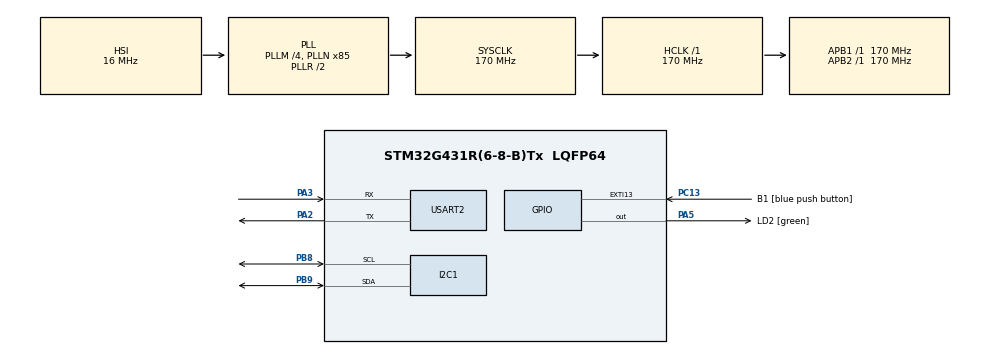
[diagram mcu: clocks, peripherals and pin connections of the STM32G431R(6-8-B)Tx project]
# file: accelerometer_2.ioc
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I2C1.Timing=0x30A0A7FB
Mcu.Family=STM32G4
Mcu.Name=STM32G431R(6-8-B)Tx
Mcu.Package=LQFP64
NVIC.PriorityGroup=NVIC_PRIORITYGROUP_4
PA13.GPIO_Label=T_SWDIO
PA13.Mode=Serial_Wire
PA13.Signal=SYS_JTMS-SWDIO
PA14.GPIO_Label=T_SWCLK
PA14.Mode=Serial_Wire
PA14.Signal=SYS_JTCK-SWCLK
PA2.Mode=Asynchronous
PA2.Signal=USART2_TX
PA3.Mode=Asynchronous
PA3.Signal=USART2_RX
PA5.GPIO_Label=LD2 [green]
PA5.Signal=GPIO_Output
PB3.GPIO_Label=T_SWO
PB3.Signal=SYS_JTDO-SWO
PB8-BOOT0.Mode=I2C
PB8-BOOT0.Signal=I2C1_SCL
PB9.Mode=I2C
PB9.Signal=I2C1_SDA
PC13.GPIO_Label=B1 [blue push button]
PC13.Signal=GPXTI13
PC14-OSC32_IN.Mode=LSE-External-Oscillator
PC14-OSC32_IN.Signal=RCC_OSC32_IN
PC15-OSC32_OUT.Mode=LSE-External-Oscillator
PC15-OSC32_OUT.Signal=RCC_OSC32_OUT
PF0-OSC_IN.Mode=HSE-External-Oscillator
PF0-OSC_IN.Signal=RCC_OSC_IN
PF1-OSC_OUT.Mode=HSE-External-Oscillator
PF1-OSC_OUT.Signal=RCC_OSC_OUT
ProjectManager.HeapSize=0x200
ProjectManager.StackSize=0x400
ProjectManager.TargetToolchain=STM32CubeIDE
RCC.ADC12Freq_Value=170000000
RCC.AHBFreq_Value=170000000
RCC.APB1Freq_Value=170000000
RCC.APB1TimFreq_Value=170000000
RCC.APB2Freq_Value=170000000
RCC.APB2TimFreq_Value=170000000
RCC.CortexFreq_Value=170000000
RCC.EXTERNAL_CLOCK_VALUE=12288000
RCC.HCLKFreq_Value=170000000
RCC.HSE_VALUE=24000000
RCC.HSI48_VALUE=48000000
RCC.HSI_VALUE=16000000
RCC.PLLM=RCC_PLLM_DIV4
RCC.PLLN=85
RCC.RTCClockSelection=RCC_RTCCLKSOURCE_LSE
RCC.SYSCLKFreq_VALUE=170000000
RCC.SYSCLKSource=RCC_SYSCLKSOURCE_PLLCLK
RCC.USBFreq_Value=170000000
RCC.VCOOutputFreq_Value=340000000
USART2.VirtualMode-Asynchronous=VM_ASYNC
VP_SYS_VS_DBSignals.Mode=DisableDeadBatterySignals
board=NUCLEO-G431RB

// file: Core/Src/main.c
/* USER CODE BEGIN Header */
/**
  ******************************************************************************
  * @file           : main.c
  * @brief          : Main program body
  ******************************************************************************
  * @attention
  *
  * Copyright (c) 2023 STMicroelectronics.
  * All rights reserved.
  *
  * This software is licensed under terms that can be found in the LICENSE file
  * in the root directory of this software component.
  * If no LICENSE file comes with this software, it is provided AS-IS.
  *
  ******************************************************************************
  */
/* USER CODE END Header */
#include "main.h"
/* USER CODE BEGIN Includes */
#include <stdio.h>
#include "mpu6050.h"
#define MPU6050_ADDR 0b1101001
/* USER CODE END Includes */

I2C_HandleTypeDef hi2c1;

UART_HandleTypeDef huart2;

/* USER CODE BEGIN PV */
float x_acc;
float x_gyro;
float y_acc;
float y_gyro;
float z_acc;
float z_gyro;
float temp;
/* USER CODE END PV */

void SystemClock_Config(void);
static void MX_GPIO_Init(void);
static void MX_I2C1_Init(void);
static void MX_USART2_UART_Init(void);

int main(void)
{

  /* MCU Configuration--------------------------------------------------------*/

  /* Reset of all peripherals, Initializes the Flash interface and the Systick. */
  HAL_Init();

  /* Configure the system clock */
  SystemClock_Config();

  /* Initialize all configured peripherals */
  MX_GPIO_Init();
  MX_I2C1_Init();
  MX_USART2_UART_Init();
  /* USER CODE BEGIN 2 */
  mpu6050_init();

  /* USER CODE END 2 */

  /* Infinite loop */
  /* USER CODE BEGIN WHILE */
  while (1)
  {
	  mpu6050_read();
	  HAL_Delay(10);
	  //printf("------- \n");
    /* USER CODE END WHILE */

}
}

void SystemClock_Config(void)
{
  RCC_OscInitTypeDef RCC_OscInitStruct = {0};
  RCC_ClkInitTypeDef RCC_ClkInitStruct = {0};

  /** Configure the main internal regulator output voltage
  */
  HAL_PWREx_ControlVoltageScaling(PWR_REGULATOR_VOLTAGE_SCALE1_BOOST);

  /** Initializes the RCC Oscillators according to the specified parameters
  * in the RCC_OscInitTypeDef structure.
  */
  RCC_OscInitStruct.OscillatorType = RCC_OSCILLATORTYPE_HSI;
  RCC_OscInitStruct.HSIState = RCC_HSI_ON;
  RCC_OscInitStruct.HSICalibrationValue = RCC_HSICALIBRATION_DEFAULT;
  RCC_OscInitStruct.PLL.PLLState = RCC_PLL_ON;
  RCC_OscInitStruct.PLL.PLLSource = RCC_PLLSOURCE_HSI;
  RCC_OscInitStruct.PLL.PLLM = RCC_PLLM_DIV4;
  RCC_OscInitStruct.PLL.PLLN = 85;
  RCC_OscInitStruct.PLL.PLLP = RCC_PLLP_DIV2;
  RCC_OscInitStruct.PLL.PLLQ = RCC_PLLQ_DIV2;
  RCC_OscInitStruct.PLL.PLLR = RCC_PLLR_DIV2;
  if (HAL_RCC_OscConfig(&RCC_OscInitStruct) != HAL_OK)
  {
    Error_Handler();
  }

  /** Initializes the CPU, AHB and APB buses clocks
  */
  RCC_ClkInitStruct.ClockType = RCC_CLOCKTYPE_HCLK|RCC_CLOCKTYPE_SYSCLK
                              |RCC_CLOCKTYPE_PCLK1|RCC_CLOCKTYPE_PCLK2;
  RCC_ClkInitStruct.SYSCLKSource = RCC_SYSCLKSOURCE_PLLCLK;
  RCC_ClkInitStruct.AHBCLKDivider = RCC_SYSCLK_DIV1;
  RCC_ClkInitStruct.APB1CLKDivider = RCC_HCLK_DIV1;
  RCC_ClkInitStruct.APB2CLKDivider = RCC_HCLK_DIV1;

  if (HAL_RCC_ClockConfig(&RCC_ClkInitStruct, FLASH_LATENCY_4) != HAL_OK)
  {
    Error_Handler();
  }
}

static void MX_I2C1_Init(void)
{

  hi2c1.Instance = I2C1;
  hi2c1.Init.Timing = 0x30A0A7FB;
  hi2c1.Init.OwnAddress1 = 0;
  hi2c1.Init.AddressingMode = I2C_ADDRESSINGMODE_7BIT;
  hi2c1.Init.DualAddressMode = I2C_DUALADDRESS_DISABLE;
  hi2c1.Init.OwnAddress2 = 0;
  hi2c1.Init.OwnAddress2Masks = I2C_OA2_NOMASK;
  hi2c1.Init.GeneralCallMode = I2C_GENERALCALL_DISABLE;
  hi2c1.Init.NoStretchMode = I2C_NOSTRETCH_DISABLE;
  if (HAL_I2C_Init(&hi2c1) != HAL_OK)
  {
    Error_Handler();
  }

  /** Configure Analogue filter
  */
  if (HAL_I2CEx_ConfigAnalogFilter(&hi2c1, I2C_ANALOGFILTER_ENABLE) != HAL_OK)
  {
    Error_Handler();
  }

  /** Configure Digital filter
  */
  if (HAL_I2CEx_ConfigDigitalFilter(&hi2c1, 0) != HAL_OK)
  {
    Error_Handler();
  }

}

static void MX_USART2_UART_Init(void)
{

  huart2.Instance = USART2;
  huart2.Init.BaudRate = 115200;
  huart2.Init.WordLength = UART_WORDLENGTH_8B;
  huart2.Init.StopBits = UART_STOPBITS_1;
  huart2.Init.Parity = UART_PARITY_NONE;
  huart2.Init.Mode = UART_MODE_TX_RX;
  huart2.Init.HwFlowCtl = UART_HWCONTROL_NONE;
  huart2.Init.OverSampling = UART_OVERSAMPLING_16;
  huart2.Init.OneBitSampling = UART_ONE_BIT_SAMPLE_DISABLE;
  huart2.Init.ClockPrescaler = UART_PRESCALER_DIV1;
  huart2.AdvancedInit.AdvFeatureInit = UART_ADVFEATURE_NO_INIT;
  if (HAL_UART_Init(&huart2) != HAL_OK)
  {
    Error_Handler();
  }
  if (HAL_UARTEx_SetTxFifoThreshold(&huart2, UART_TXFIFO_THRESHOLD_1_8) != HAL_OK)
  {
    Error_Handler();
  }
  if (HAL_UARTEx_SetRxFifoThreshold(&huart2, UART_RXFIFO_THRESHOLD_1_8) != HAL_OK)
  {
    Error_Handler();
  }
  if (HAL_UARTEx_DisableFifoMode(&huart2) != HAL_OK)
  {
    Error_Handler();
  }

}

static void MX_GPIO_Init(void)
{
  GPIO_InitTypeDef GPIO_InitStruct = {0};

  /* GPIO Ports Clock Enable */
  __HAL_RCC_GPIOC_CLK_ENABLE();
  __HAL_RCC_GPIOF_CLK_ENABLE();
  __HAL_RCC_GPIOA_CLK_ENABLE();
  __HAL_RCC_GPIOB_CLK_ENABLE();

  /*Configure GPIO pin Output Level */
  HAL_GPIO_WritePin(LD2_GPIO_Port, LD2_Pin, GPIO_PIN_RESET);

  /*Configure GPIO pin : B1_Pin */
  GPIO_InitStruct.Pin = B1_Pin;
  GPIO_InitStruct.Mode = GPIO_MODE_IT_RISING;
  GPIO_InitStruct.Pull = GPIO_NOPULL;
  HAL_GPIO_Init(B1_GPIO_Port, &GPIO_InitStruct);

  /*Configure GPIO pin : LD2_Pin */
  GPIO_InitStruct.Pin = LD2_Pin;
  GPIO_InitStruct.Mode = GPIO_MODE_OUTPUT_PP;
  GPIO_InitStruct.Pull = GPIO_NOPULL;
  GPIO_InitStruct.Speed = GPIO_SPEED_FREQ_LOW;
  HAL_GPIO_Init(LD2_GPIO_Port, &GPIO_InitStruct);

}

/* USER CODE BEGIN 4 */
int _write(int file, char *ptr, int len)
{
  (void)file;
  int DataIdx;

  for (DataIdx = 0; DataIdx < len; DataIdx++)
  {
    ITM_SendChar(*ptr++);
  }
  return len;
}

/* USER CODE END 4 */

void Error_Handler(void)
{
  __disable_irq();
  while (1)
  {
  }
}
